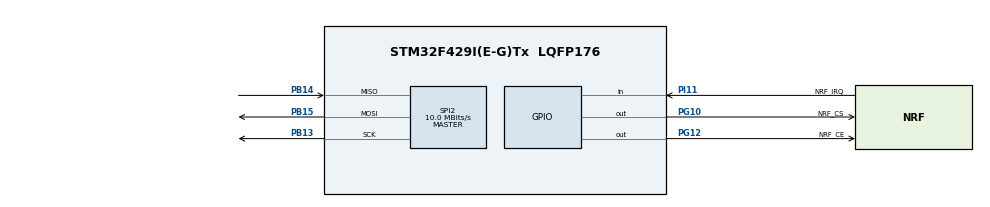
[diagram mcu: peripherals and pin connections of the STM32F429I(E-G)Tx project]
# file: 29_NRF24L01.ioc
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Mcu.Family=STM32F4
Mcu.Name=STM32F429I(E-G)Tx
Mcu.Package=LQFP176
NVIC.PriorityGroup=NVIC_PRIORITYGROUP_2
PA13.Mode=Trace_Asynchronous_SW
PA13.Signal=SYS_JTMS-SWDIO
PA14.Mode=Trace_Asynchronous_SW
PA14.Signal=SYS_JTCK-SWCLK
PB13.Mode=Full_Duplex_Master
PB13.Signal=SPI2_SCK
PB14.Mode=Full_Duplex_Master
PB14.Signal=SPI2_MISO
PB15.Mode=Full_Duplex_Master
PB15.Signal=SPI2_MOSI
PB3.Mode=Trace_Asynchronous_SW
PB3.Signal=SYS_JTDO-SWO
PC14/OSC32_IN.Mode=LSE-External-Oscillator
PC14/OSC32_IN.Signal=RCC_OSC32_IN
PC15/OSC32_OUT.Mode=LSE-External-Oscillator
PC15/OSC32_OUT.Signal=RCC_OSC32_OUT
PG10.GPIO_Label=NRF_CS
PG10.GPIO_Speed=GPIO_SPEED_FREQ_VERY_HIGH
PG10.PinState=GPIO_PIN_SET
PG10.Signal=GPIO_Output
PG12.GPIO_Label=NRF_CE
PG12.GPIO_Speed=GPIO_SPEED_FREQ_VERY_HIGH
PG12.Signal=GPIO_Output
PH0/OSC_IN.Mode=HSE-External-Oscillator
PH0/OSC_IN.Signal=RCC_OSC_IN
PH1/OSC_OUT.Mode=HSE-External-Oscillator
PH1/OSC_OUT.Signal=RCC_OSC_OUT
PI11.GPIO_Label=NRF_IRQ
PI11.Signal=GPIO_Input
ProjectManager.HeapSize=0x200
ProjectManager.StackSize=0x400
ProjectManager.TargetToolchain=STM32CubeIDE
RCC.48MHZClocksFreq_Value=40000000
RCC.AHBFreq_Value=80000000
RCC.APB1CLKDivider=RCC_HCLK_DIV2
RCC.APB1Freq_Value=40000000
RCC.APB1TimFreq_Value=80000000
RCC.APB2Freq_Value=80000000
RCC.APB2TimFreq_Value=80000000
RCC.CortexFreq_Value=80000000
RCC.HCLKFreq_Value=80000000
RCC.HSE_VALUE=25000000
RCC.HSI_VALUE=16000000
RCC.PLLM=15
RCC.PLLN=96
RCC.PLLSourceVirtual=RCC_PLLSOURCE_HSE
RCC.SYSCLKFreq_VALUE=80000000
RCC.SYSCLKSource=RCC_SYSCLKSOURCE_PLLCLK
RCC.VCOOutputFreq_Value=160000000
SPI2.BaudRatePrescaler=SPI_BAUDRATEPRESCALER_4
SPI2.CalculateBaudRate=10.0 MBits/s
SPI2.Direction=SPI_DIRECTION_2LINES
SPI2.Mode=SPI_MODE_MASTER
SPI2.VirtualType=VM_MASTER
board=custom

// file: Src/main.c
/* USER CODE BEGIN Header */
/**
 ******************************************************************************
 * @file           : main.c
 * @brief          : Main program body
 ******************************************************************************
 * @attention
 *
 * <h2><center>&copy; Copyright (c) 2019 STMicroelectronics.
 * All rights reserved.</center></h2>
 *
 * This software component is licensed by ST under BSD 3-Clause license,
 * the "License"; You may not use this file except in compliance with the
 * License. You may obtain a copy of the License at:
 *                        opensource.org/licenses/BSD-3-Clause
 *
 ******************************************************************************
 */
/* USER CODE END Header */

#include "main.h"
#include "spi.h"
#include "gpio.h"

/* USER CODE BEGIN Includes */
#include <stdio.h>
#include <NRF24L01.h>
/* USER CODE END Includes */

/* USER CODE BEGIN PV */
uint8_t send_buf1[32] = "01234567890123456789012345678921";
uint8_t send_buf2[32] = "11111111111111111111111111111111";
/* USER CODE END PV */

void SystemClock_Config (void);

int main (void)
{

    /* MCU Configuration--------------------------------------------------------*/

    /* Reset of all peripherals, Initializes the Flash interface and the Systick. */
    HAL_Init ();

    /* Configure the system clock */
    SystemClock_Config ();

    /* Initialize all configured peripherals */
    MX_GPIO_Init ();
    MX_SPI2_Init ();
    /* USER CODE BEGIN 2 */
    printf ("Start\r\n");
    NRF24L01_Init ();
    while (NRF24L01_Check ());
    NRF24L01_TX_Mode ();
    /* USER CODE END 2 */

    /* Infinite loop */
    /* USER CODE BEGIN WHILE */
    while (1)
    {
	if (NRF24L01_TxPacket (send_buf1) == TX_OK)
	    printf ("Send\r\n");
	else
	    while (1);

	HAL_Delay (100);
	if (NRF24L01_TxPacket (send_buf2) == TX_OK)
	    printf ("Send\r\n");
	else
	    while (1);

	HAL_Delay (100);
	/* USER CODE END WHILE */

    }
}

void SystemClock_Config (void)
{
    RCC_OscInitTypeDef RCC_OscInitStruct = { 0 };
    RCC_ClkInitTypeDef RCC_ClkInitStruct = { 0 };

    /** Configure the main internal regulator output voltage
     */
    __HAL_RCC_PWR_CLK_ENABLE();
    __HAL_PWR_VOLTAGESCALING_CONFIG(PWR_REGULATOR_VOLTAGE_SCALE3);
    /** Initializes the CPU, AHB and APB busses clocks
     */
    RCC_OscInitStruct.OscillatorType = RCC_OSCILLATORTYPE_HSE;
    RCC_OscInitStruct.HSEState = RCC_HSE_ON;
    RCC_OscInitStruct.PLL.PLLState = RCC_PLL_ON;
    RCC_OscInitStruct.PLL.PLLSource = RCC_PLLSOURCE_HSE;
    RCC_OscInitStruct.PLL.PLLM = 15;
    RCC_OscInitStruct.PLL.PLLN = 96;
    RCC_OscInitStruct.PLL.PLLP = RCC_PLLP_DIV2;
    RCC_OscInitStruct.PLL.PLLQ = 4;
    if (HAL_RCC_OscConfig (&RCC_OscInitStruct) != HAL_OK)
    {
	Error_Handler ();
    }
    /** Initializes the CPU, AHB and APB busses clocks
     */
    RCC_ClkInitStruct.ClockType = RCC_CLOCKTYPE_HCLK | RCC_CLOCKTYPE_SYSCLK | RCC_CLOCKTYPE_PCLK1 | RCC_CLOCKTYPE_PCLK2;
    RCC_ClkInitStruct.SYSCLKSource = RCC_SYSCLKSOURCE_PLLCLK;
    RCC_ClkInitStruct.AHBCLKDivider = RCC_SYSCLK_DIV1;
    RCC_ClkInitStruct.APB1CLKDivider = RCC_HCLK_DIV2;
    RCC_ClkInitStruct.APB2CLKDivider = RCC_HCLK_DIV1;

    if (HAL_RCC_ClockConfig (&RCC_ClkInitStruct, FLASH_LATENCY_2) != HAL_OK)
    {
	Error_Handler ();
    }
}

/* USER CODE BEGIN 4 */

int _write (int file,char*ptr,int len)
{
    int DataIdx;
    for (DataIdx = 0; DataIdx < len; DataIdx++)
    {
	ITM_SendChar (*ptr++);
    }
    return len;
}

/* USER CODE END 4 */

void Error_Handler (void)
{
}

/************************ (C) COPYRIGHT STMicroelectronics *****END OF FILE****/
